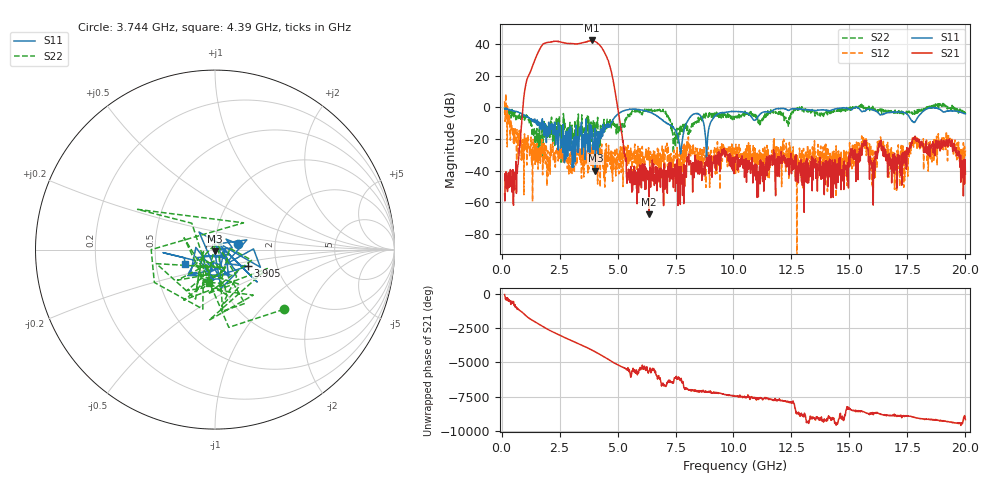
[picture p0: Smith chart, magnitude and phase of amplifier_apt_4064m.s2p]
!Created with skrf (http://scikit-rf.org).
# GHz S RI R 50.0
!freq ReS11 ImS11 ReS21 ImS21 ReS12 ImS12 ReS22 ImS22
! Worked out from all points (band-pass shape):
!   1601 points, 130 MHz to 20 GHz, reference 50 ohm
!   highest |S21| = 42.34 dB at 3.88 GHz (marker M1); lowest = -67.6 dB at 6.352 GHz (marker M2)
!   |S21| within 3 dB of the highest: 1.746 GHz to 4.233 GHz (2.488 GHz wide, 83.2 % of centre)
!   lowest |S11| = -40.0 dB at 4.042 GHz (marker M3), VSWR 1.02, Z = 49.8 - j0.975 ohm
!   |S11| at or under -10 dB: 2.454 GHz to 3.441 GHz (987.4 MHz wide, 33.5 % of centre); 3.637 GHz to 4.713 GHz (1.076 GHz wide, 25.8 % of centre); 7.139 GHz to 7.964 GHz (824.6 MHz wide, 10.9 % of centre) (the widest 3 of 16)
!   |S22| runs from -34.6 to 3.4 dB; largest |S21 - S12| = 1.3e+02
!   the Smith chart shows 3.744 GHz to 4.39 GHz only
!   S11 on the Smith chart (normalised r, x): 3.744 GHz: 1.29, +0.08; 3.905 GHz: 1.41, -0.27; 4.39 GHz: 0.70, -0.12
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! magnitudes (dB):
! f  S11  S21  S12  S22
! 130 MHz  -0.9  -54.6  4.0  -3.4
! 601.9 MHz  -2.4  -45.4  -21.0  -6.4
! 1.037 GHz  -5.2  14.0  -25.6  -5.3
! 1.633 GHz  -9.8  36.5  -28.0  -12.3
! 3.446 GHz  -9.2  40.7  -44.8  -15.7
! 3.744 GHz  -17.5  41.8  -29.3  -5.9
! 3.88 GHz  -15.7  42.3  -26.7  -13.2
! 3.905 GHz  -13.8  42.2  -33.4  -13.5
! 4.042 GHz  -40.0  41.6  -30.6  -15.0
! 4.39 GHz  -14.6  36.1  -35.0  -14.5
! 5.458 GHz  -1.4  -43.8  -32.0  -5.0
! 6.352 GHz  -2.7  -67.6  -28.8  -1.2
! 6.762 GHz  -5.9  -40.7  -26.6  -2.0
! 7.718 GHz  -29.4  -44.8  -38.0  -10.8
! 8.264 GHz  -4.3  -36.1  -23.7  -10.7
! 8.848 GHz  -28.4  -31.5  -27.6  -5.4
! 10.06 GHz  -2.5  -35.0  -34.1  -5.6
! 13.38 GHz  -1.8  -42.5  -35.1  -2.1
! 15.64 GHz  -2.4  -21.0  -24.1  -0.3
! 16.7 GHz  -3.1  -31.7  -44.1  -2.9
! 19.33 GHz  -2.2  -20.8  -21.9  -0.5
! 20 GHz  -4.0  -42.2  -27.1  -3.7
